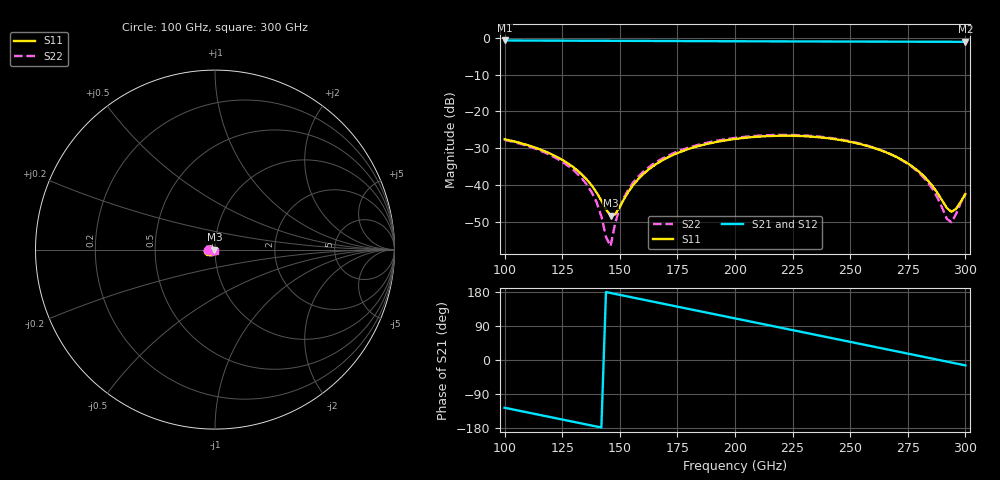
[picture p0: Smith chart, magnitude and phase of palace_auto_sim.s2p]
#  GHZ S DB R 50
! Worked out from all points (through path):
!   101 points, 100 GHz to 300 GHz, reference 50 ohm
!   highest |S21| = -0.70 dB at 100 GHz (marker M1); lowest = -1.1 dB at 300 GHz (marker M2)
!   group delay of S21, straight-line fit = 3.45 ps
!   lowest |S11| = -48.3 dB at 146 GHz (marker M3), VSWR 1.01, Z = 49.6 - j0.0967 ohm
!   |S11| at or under -10 dB: start of sweep to end of sweep
!   |S22| runs from -56.6 to -26.4 dB; largest |S21 - S12| = 1.1e-14
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100  -27.56 -173.0  -0.70 -126.0  -0.70 -126.0  -27.73 -174.1
120  -31.53 160.6  -0.74 -150.8  -0.74 -150.8  -31.93 157.6
134  -37.41 148.7  -0.77 -168.2  -0.77 -168.2  -38.55 141.1
140  -42.12 152.7  -0.78 -175.7  -0.78 -175.7  -44.82 139.6
142  -44.26 159.2  -0.78 -178.2  -0.78 -178.2  -48.51 144.1
144  -46.60 172.0  -0.79 179.3  -0.79 179.3  -54.17 163.3
146  -48.33 -165.3  -0.79 176.8  -0.79 176.8  -56.64 -126.5
150  -45.93 -118.1  -0.80 171.9  -0.80 171.9  -46.09 -83.3
154  -41.59 -102.4  -0.81 166.9  -0.81 166.9  -40.93 -81.8
160  -37.14 -99.5  -0.82 159.4  -0.82 159.4  -36.51 -86.7
168  -33.47 -104.9  -0.84 149.5  -0.84 149.5  -32.97 -95.9
182  -29.80 -120.0  -0.87 132.1  -0.87 132.1  -29.44 -113.4
200  -27.49 -141.0  -0.91 109.8  -0.91 109.8  -27.21 -135.7
216  -26.67 -159.9  -0.94 90.0  -0.94 90.0  -26.42 -155.2
234  -26.89 178.6  -0.97 67.7  -0.97 67.7  -26.70 -177.2
252  -28.53 157.5  -1.00 45.4  -1.00 45.4  -28.41 161.1
268  -31.77 140.5  -1.02 25.5  -1.02 25.5  -31.78 143.1
282  -37.62 132.4  -1.04 8.2  -1.04 8.2  -38.06 132.8
288  -42.30 139.9  -1.05 0.7  -1.05 0.7  -43.60 138.6
292  -46.30 163.6  -1.06 -4.3  -1.06 -4.3  -49.24 168.4
294  -47.30 -173.4  -1.06 -6.7  -1.06 -6.7  -50.15 -156.4
300  -42.46 -124.4  -1.07 -14.2  -1.07 -14.2  -42.34 -107.7
